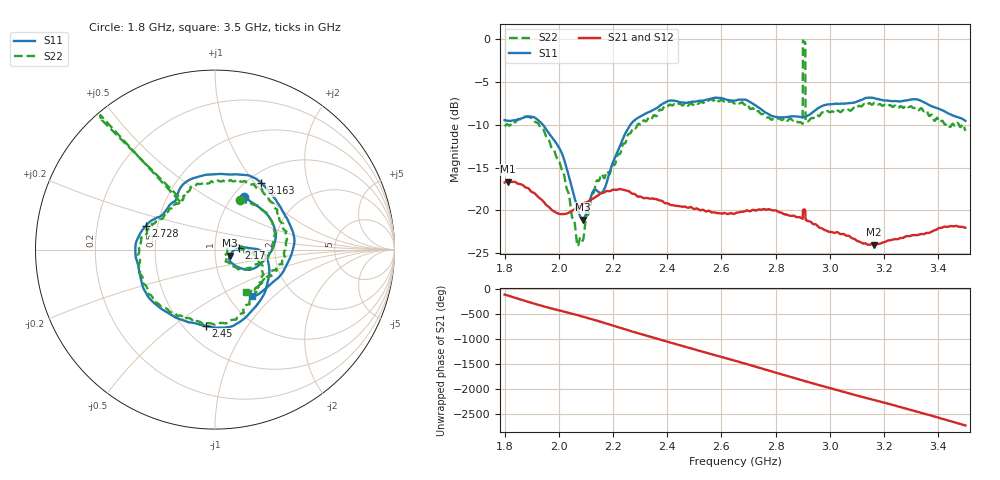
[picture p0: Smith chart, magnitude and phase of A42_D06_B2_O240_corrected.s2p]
! Created with skrf 1.9.0 (http://scikit-rf.org).
# Hz S RI R 50.0
!freq ReS11 ImS11 ReS21 ImS21 ReS12 ImS12 ReS22 ImS22
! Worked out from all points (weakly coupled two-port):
!   1601 points, 1.8 GHz to 3.5 GHz, reference 50 ohm
!   highest |S21| = -16.64 dB at 1.812 GHz (marker M1); lowest = -24.0 dB at 3.162 GHz (marker M2)
!   lowest |S11| = -21.1 dB at 2.089 GHz (marker M3), VSWR 1.19, Z = 58.8 - j3.93 ohm
!   |S11| at or under -10 dB: 1.941 GHz to 2.264 GHz (322.9 MHz wide, 15.4 % of centre)
!   |S22| runs from -24.2 to -0.1 dB; largest |S21 - S12| = 0.0025
!   S11 on the Smith chart (normalised r, x): 1.8 GHz: 1.12, +0.75; 2.17 GHz: 1.31, +0.03; 2.45 GHz: 0.64, -0.66; 2.728 GHz: 0.43, +0.13; 3.163 GHz: 1.15, +1.08; 3.5 GHz: 1.28, -0.75
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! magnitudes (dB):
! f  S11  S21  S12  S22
! 1.8 GHz  -9.5  -16.7  -16.7  -10.2
! 1.812 GHz  -9.5  -16.6  -16.6  -10.0
! 1.942 GHz  -10.0  -19.0  -18.9  -10.5
! 2.011 GHz  -13.4  -20.5  -20.4  -15.3
! 2.067 GHz  -19.5  -19.7  -19.7  -23.8
! 2.084 GHz  -21.0  -19.4  -19.3  -23.3
! 2.089 GHz  -21.1  -19.3  -19.3  -23.5
! 2.17 GHz  -17.4  -17.9  -17.9  -16.2
! 2.261 GHz  -10.1  -17.8  -17.8  -11.0
! 2.367 GHz  -7.9  -18.8  -18.7  -8.5
! 2.45 GHz  -7.4  -19.6  -19.6  -7.6
! 2.65 GHz  -7.2  -20.4  -20.4  -7.5
! 2.728 GHz  -7.8  -20.0  -20.0  -8.5
! 2.891 GHz  -9.1  -20.8  -20.8  -9.7
! 2.901 GHz  -9.1  -20.0  -20.0  -0.1
! 2.909 GHz  -9.1  -20.1  -20.0  -0.4
! 2.919 GHz  -8.9  -21.2  -21.2  -9.6
! 2.934 GHz  -8.6  -21.5  -21.5  -9.2
! 3.162 GHz  -6.9  -24.0  -24.0  -7.5
! 3.163 GHz  -6.9  -24.0  -24.0  -7.4
! 3.217 GHz  -7.2  -23.5  -23.5  -7.7
! 3.5 GHz  -9.5  -22.0  -22.0  -10.7
